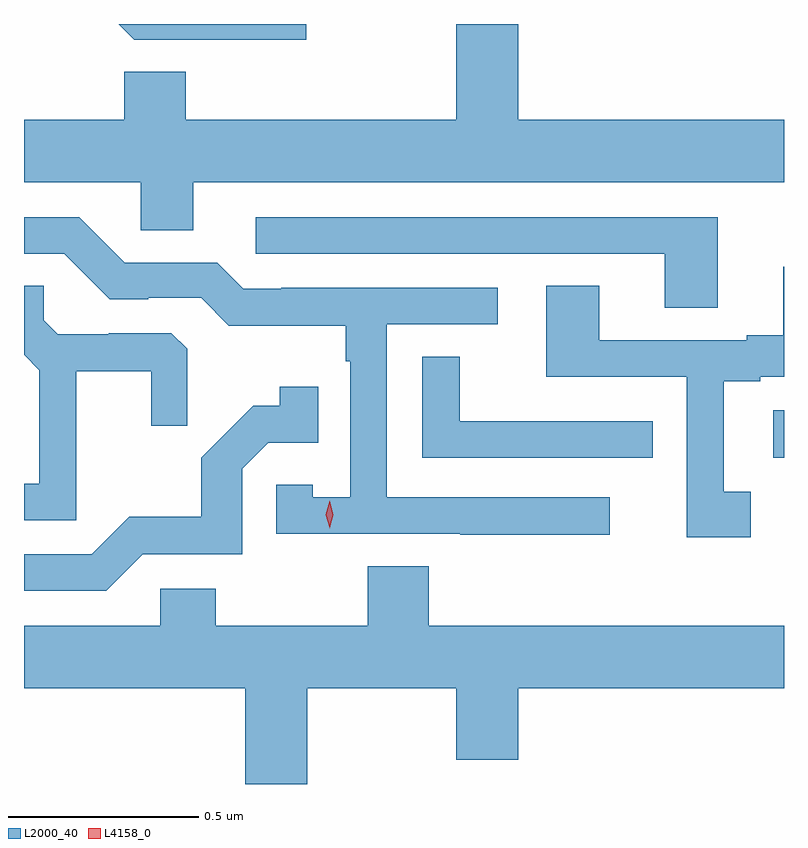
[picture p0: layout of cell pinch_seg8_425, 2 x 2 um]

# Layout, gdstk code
import gdstk
lib = gdstk.Library(unit=1e-6, precision=1e-09)
def R(c, l, rs):  # rectangles x0, y0, x1, y1
    for r in rs: c.add(gdstk.rectangle(r[:2], r[2:], *l))
def P(c, l, *ps):  # polygons
    for p in ps: c.add(gdstk.Polygon(p, *l))
L2000_40 = (2000, 40)
L4158_0 = (4158, 0)

pinch_seg8_425 = lib.new_cell('pinch_seg8_425')
R(pinch_seg8_425, L2000_40, [(357.651,1161.063,357.679,1161.187)])
P(pinch_seg8_425, L2000_40, [(356.422,1162.204),(355.928,1162.204),(355.969,1162.163),(356.422,1162.163)],
  [(356.125,1161.788),(357.679,1161.788),(357.679,1161.952),(356.98,1161.952),(356.98,1162.204),(356.816,1162.204),(356.816,1161.952),(356.104,1161.952),(356.104,1162.078),(355.943,1162.078),(355.943,1161.952),(355.679,1161.952),(355.679,1161.788),(355.986,1161.788),(355.986,1161.661),(356.125,1161.661)],
  [(357.22,1160.958),(356.634,1160.958),(356.634,1161.414),(356.926,1161.414),(356.926,1161.51),(356.356,1161.51),(356.356,1161.507),(356.256,1161.507),(356.187,1161.576),(355.944,1161.576),(355.824,1161.696),(355.679,1161.696),(355.679,1161.6),(355.785,1161.6),(355.905,1161.48),(356.006,1161.48),(356.006,1161.483),(356.145,1161.483),(356.218,1161.41),(356.526,1161.41),(356.526,1161.317),(356.538,1161.317),(356.538,1160.959),(356.439,1160.959),(356.439,1160.991),(356.343,1160.991),(356.343,1160.862),(356.827,1160.862),(356.827,1160.86),(357.22,1160.86)],
  [(357.505,1161.696),(356.289,1161.696),(356.289,1161.6),(357.365,1161.6),(357.365,1161.457),(357.505,1161.457)],
  [(357.592,1160.973),(357.52,1160.973),(357.52,1161.264),(357.616,1161.264),(357.616,1161.276),(357.679,1161.276),(357.679,1161.565),(357.677,1161.565),(357.677,1161.385),(357.581,1161.385),(357.581,1161.372),(357.193,1161.372),(357.193,1161.515),(357.053,1161.515),(357.053,1161.276),(357.423,1161.276),(357.423,1160.853),(357.592,1160.853)],
  [(355.817,1161.29),(356.014,1161.29),(356.014,1161.147),(356.108,1161.147),(356.108,1161.349),(356.067,1161.39),(355.902,1161.39),(355.902,1161.387),(355.768,1161.387),(355.731,1161.424),(355.731,1161.515),(355.679,1161.515),(355.679,1161.333),(355.719,1161.293),(355.719,1160.994),(355.679,1160.994),(355.679,1160.898),(355.817,1160.898)],
  [(357.334,1161.158),(357.221,1161.158),(357.221,1161.159),(356.826,1161.159),(356.826,1161.329),(356.727,1161.329),(356.727,1161.063),(357.334,1161.063)],
  [(355.992,1160.808),(356.253,1160.808),(356.253,1161.033),(356.322,1161.102),(356.453,1161.102),(356.453,1161.25),(356.352,1161.25),(356.352,1161.2),(356.282,1161.2),(356.145,1161.062),(356.145,1160.907),(355.956,1160.907),(355.857,1160.808),(355.679,1160.808),(355.679,1160.712),(355.896,1160.712)],
  [(356.425,1160.456),(356.816,1160.456),(356.816,1160.268),(356.98,1160.268),(356.98,1160.456),(357.679,1160.456),(357.679,1160.62),(356.744,1160.62),(356.744,1160.777),(356.584,1160.777),(356.584,1160.62),(356.184,1160.62),(356.184,1160.718),(356.037,1160.718),(356.037,1160.62),(355.679,1160.62),(355.679,1160.456),(356.261,1160.456),(356.261,1160.204),(356.425,1160.204)])
P(pinch_seg8_425, L4158_0, [(356.483,1160.877),(356.483,1160.878),(356.473,1160.913),(356.483,1160.949),(356.483,1160.949),(356.483,1160.949),(356.493,1160.913),(356.483,1160.878)])

lib.write_gds('pinch_seg8_425.gds')
